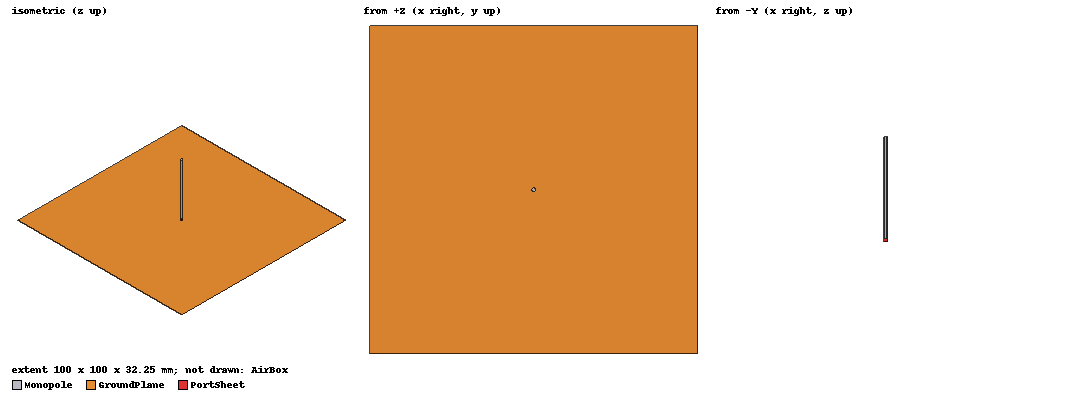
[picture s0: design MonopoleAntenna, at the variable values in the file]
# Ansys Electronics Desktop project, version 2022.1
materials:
  vacuum: permittivity=1
  pec: conductivity=1e+30

design MonopoleAntenna (HFSS, DrivenModal, model units mm)
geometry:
  GroundPlane [pec] = rectangle(corner=(-50mm, -50mm, 0mm), x_size=100mm, y_size=100mm)
  Monopole [pec] = cylinder(axis=Z, base_centre=(0mm, 0mm, 1mm), radius=0.5mm, height=31.25mm)
  PortSheet = rectangle(corner=(-0.5mm, 0mm, 0mm), z_size=1mm, x_size=1mm)
  AirBox [vacuum] = box(corner=(-100mm, -100mm, -100mm), size=(200mm, 200mm, 250mm))
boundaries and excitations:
  PerfE1: Perfect E Objects=GroundPlane
  Rad1: Radiation Objects=AirBox
  LumpedPort1: Lumped Port Faces=PortSheet.face Modes{Mode1{IntLine{(0, 0, 0) -> (0, 0, 1)} CharImp=Zpi RenormImp=50ohm}} Impedance=50ohm
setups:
  Setup1: HfssDriven Frequency=5GHz MaxDeltaS=0.02 MaximumPasses=6 MinimumPasses=1 MinimumConvergedPasses=1 PercentRefinement=30 BasisOrder=1 PortAccuracy=2 DrivenSolverType="Direct Solver"
    sweep Sweep1: 2.2GHz to 2.6GHz, 21 points; Type=Interpolating InterpTolerance=0.5 InterpMaxSolns=250 InterpUsePortImped=false PassivityErrorTolerance=0.0001
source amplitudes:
  LumpedPort1:1: 1W 0deg
